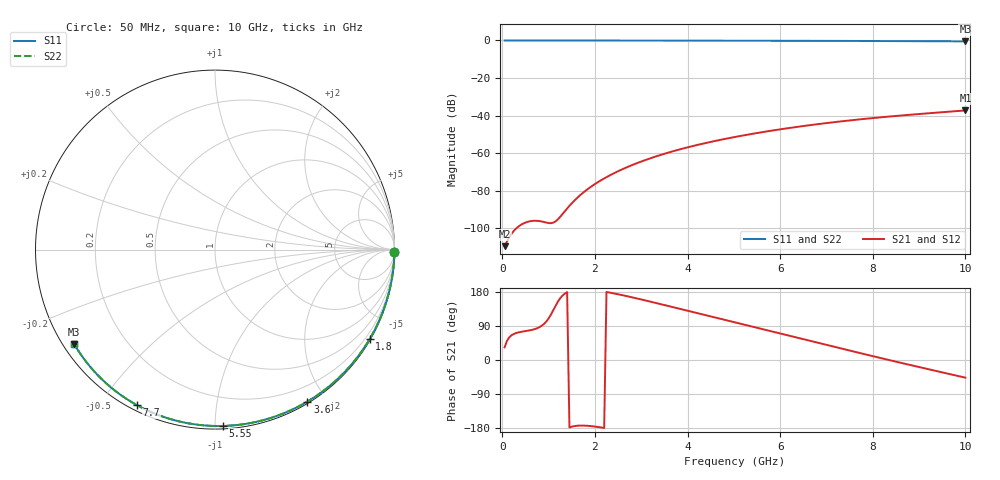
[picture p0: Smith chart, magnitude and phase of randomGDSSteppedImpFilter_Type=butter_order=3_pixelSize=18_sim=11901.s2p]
! freq	dB(S11)	phase(S11)	dB(S12)	phase(S12)
!  dB(S21)	phase(S21)	dB(S22)	phase(S22)
!S-par simulation data
#  GHz  S  DB  R 50
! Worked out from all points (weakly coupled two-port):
!   200 points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, 50 MHz to 10 GHz, reference 50 ohm
!   highest |S21| = -37.29 dB at 10 GHz (marker M1); lowest = -109.6 dB at 50 MHz (marker M2)
!   lowest |S11| = -0.5 dB at 10 GHz (marker M3), VSWR 35.11, Z = 1.56 - j15.2 ohm
!   |S11| at or under -10 dB: nowhere
!   |S22| runs from -0.5 to 0.0 dB; largest |S21 - S12| = 0
!   S11 on the Smith chart (normalised r, x): 50 MHz: open; 1.8 GHz: 0.03, -3.72; 3.6 GHz: 0.02, -1.78; 5.55 GHz: 0.02, -1.05; 7.7 GHz: 0.02, -0.62; 10 GHz: 0.03, -0.30
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0.05  -0.00 -0.9  -109.62 33.4  -109.62 33.4  -0.00 -0.9
0.45  -0.01 -7.6  -97.59 75.3  -97.59 75.3  -0.01 -7.6
0.9  -0.02 -15.2  -96.75 95.1  -96.75 95.1  -0.02 -15.2
1.3  -0.03 -21.9  -92.49 170.0  -92.49 170.0  -0.03 -21.9
1.75  -0.04 -29.3  -81.03 -173.0  -81.03 -173.0  -0.04 -29.3
1.8  -0.04 -30.1  -80.04 -173.3  -80.04 -173.3  -0.04 -30.1
1.95  -0.04 -32.6  -77.35 -174.9  -77.35 -174.9  -0.04 -32.6
2.15  -0.05 -35.8  -74.24 -178.4  -74.24 -178.4  -0.05 -35.8
2.5  -0.05 -41.5  -69.69 173.5  -69.69 173.5  -0.05 -41.5
2.9  -0.06 -47.8  -65.46 162.6  -65.46 162.6  -0.06 -47.8
3.4  -0.07 -55.6  -61.14 148.0  -61.14 148.0  -0.07 -55.6
3.6  -0.08 -58.7  -59.65 142.1  -59.65 142.1  -0.08 -58.7
3.9  -0.09 -63.3  -57.60 133.0  -57.60 133.0  -0.09 -63.3
4.3  -0.10 -69.3  -55.17 120.9  -55.17 120.9  -0.10 -69.3
5.05  -0.12 -80.3  -51.31 98.2  -51.31 98.2  -0.12 -80.3
5.55  -0.14 -87.4  -49.12 83.1  -49.12 83.1  -0.14 -87.4
6.1  -0.17 -95.1  -46.99 66.7  -46.99 66.7  -0.17 -95.1
6.7  -0.20 -103.3  -44.95 48.7  -44.95 48.7  -0.20 -103.3
7.7  -0.27 -116.6  -42.10 19.0  -42.10 19.0  -0.27 -116.6
8.35  -0.32 -125.0  -40.56 -0.1  -40.56 -0.1  -0.32 -125.0
9.2  -0.40 -135.9  -38.81 -24.3  -38.81 -24.3  -0.40 -136.0
10  -0.49 -146.2  -37.29 -46.6  -37.29 -46.6  -0.49 -146.2
